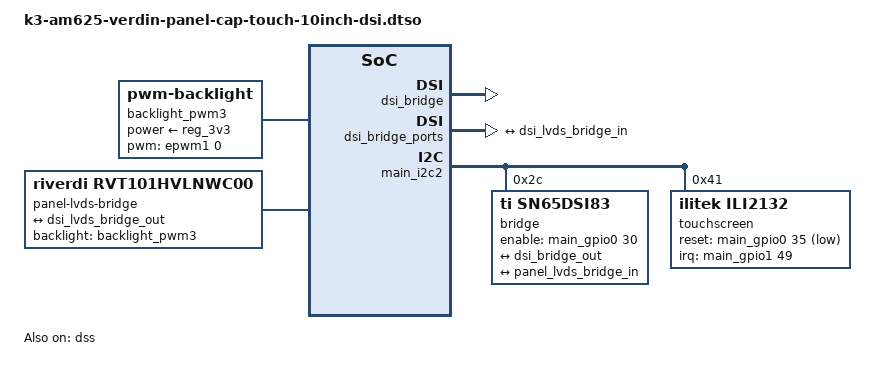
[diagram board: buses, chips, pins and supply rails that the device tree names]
// SPDX-License-Identifier: GPL-2.0-or-later OR MIT
/*
 * Copyright (c) Toradex
 *
 * Toradex Capacitive Touch Display 10.1" on Verdin DSI_1.
 * On Dahlia (X17) and Development Board (X48), DSI_1 is exposed via a
 * Samtec LSS-130 connector and requires the Toradex DSI Display Adapter
 * to convert to FFC/FPC connector.
 *
 * https://developer.toradex.com/hardware/accessories/displays/capacitive-touch-display-101inch-dsi
 * https://www.toradex.com/accessories/capacitive-touch-display-10.1-inch-dsi
 * https://developer.toradex.com/hardware/accessories/add-ons/dsi-display-adapter
 * https://www.toradex.com/accessories/verdin-dsi-display-adapter
 */

/dts-v1/;
/plugin/;

#include <dt-bindings/gpio/gpio.h>
#include <dt-bindings/interrupt-controller/irq.h>
#include <dt-bindings/pwm/pwm.h>

&{/} {
	backlight_pwm3: backlight-pwm3 {
		compatible = "pwm-backlight";
		brightness-levels = <0 45 63 88 119 158 203 255>;
		default-brightness-level = <4>;
		power-supply = <&reg_3v3>;
		/* Verdin PWM_3_DSI (SODIMM 19) - PWM_3_DSI_LVDS */
		pwms = <&epwm1 0 6666667 0>;
	};

	panel-lvds-bridge {
		compatible = "riverdi,rvt101hvlnwc00", "panel-lvds";
		backlight = <&backlight_pwm3>;
		data-mapping = "vesa-24";
		height-mm = <136>;
		width-mm = <217>;

		panel-timing {
			clock-frequency = <72400000>;
			de-active = <1>;
			hactive = <1280>;
			hback-porch = <88 88 88>;
			hfront-porch = <12 72 132>;
			hsync-active = <0>;
			hsync-len = <1 5 40>;
			pixelclk-active = <1>;
			vactive = <800>;
			vback-porch = <23 23 23>;
			vfront-porch = <1 15 49>;
			vsync-active = <0>;
			vsync-len = <1 10 20>;
		};

		port {
			panel_lvds_bridge_in: endpoint {
				remote-endpoint = <&dsi_lvds_bridge_out>;
			};
		};
	};
};

&dsi_bridge {
	status = "okay";
};

&dsi_bridge_ports {
	#address-cells = <1>;
	#size-cells = <0>;

	port@1 {
		reg = <1>;

		dsi_bridge_out: endpoint {
			remote-endpoint = <&dsi_lvds_bridge_in>;
		};
	};
};

&dss {
	status = "okay";
};

/* Verdin I2C_2_DSI */
&main_i2c2 {
	#address-cells = <1>;
	#size-cells = <0>;

	bridge@2c {
		compatible = "ti,sn65dsi83";
		reg = <0x2c>;
		pinctrl-names = "default";
		pinctrl-0 = <&pinctrl_dsi1_bkl_en>;
		/* Verdin GPIO_10_DSI (SODIMM 21) - DSI_1_BKL_EN */
		enable-gpios = <&main_gpio0 30 GPIO_ACTIVE_HIGH>;

		ports {
			#address-cells = <1>;
			#size-cells = <0>;

			port@0 {
				reg = <0>;

				dsi_lvds_bridge_in: endpoint {
					remote-endpoint = <&dsi_bridge_out>;
					data-lanes = <1 2 3 4>;
				};
			};

			port@2 {
				reg = <2>;

				dsi_lvds_bridge_out: endpoint {
					remote-endpoint = <&panel_lvds_bridge_in>;
				};
			};
		};
	};

	touchscreen@41 {
		compatible = "ilitek,ili2132";
		reg = <0x41>;
		pinctrl-names = "default";
		pinctrl-0 = <&pinctrl_dsi1_int>, <&pinctrl_i2s_2_bclk_gpio>;
		/* Verdin GPIO_9_DSI (SODIMM 17) - TOUCH_INT# */
		interrupt-parent = <&main_gpio1>;
		interrupts = <49 IRQ_TYPE_EDGE_RISING>;
		/* Verdin I2S_2_BCLK (SODIMM 42) - TOUCH_RESET# */
		reset-gpios = <&main_gpio0 35 GPIO_ACTIVE_LOW>;
	};
};
